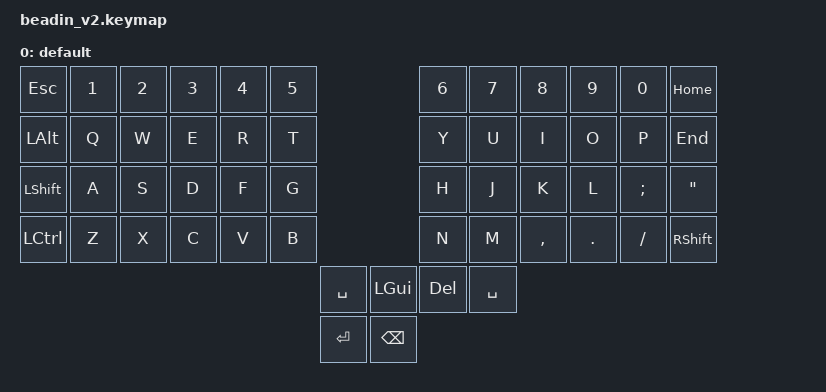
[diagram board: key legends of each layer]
#include <behaviours.dtsi>
#include <dt-bindings/zmk/keys.h>
#include <dt-bindings/zmk/bt.h>
#include <dt-bindings/zmk/ext_power.h>

/ {
    keymap{
        compatible = "zmk,keymap";

        default_layer {
            display-name = "default";
            bindings = <   
&kp ESC     &kp N1 &kp N2 &kp N3 &kp N4 &kp N5                                             &kp N6 &kp N7 &kp N8    &kp N9  &kp N0   &kp HOME
&kp LALT    &kp Q  &kp W  &kp E  &kp R  &kp T                                              &kp Y  &kp U  &kp I     &kp O   &kp P    &kp END
&kp LSHIFT  &kp A  &kp S  &kp D  &kp F  &kp G                                              &kp H  &kp J  &kp K     &kp L   &kp SEMI &kp DQT
&kp LCTRL   &kp Z  &kp X  &kp C  &kp V  &kp B                                              &kp N  &kp M  &kp COMMA &kp DOT &kp FSLH &kp RSHIFT
                                                    &kp SPACE &kp LGUI    &kp DEL &kp SPACE
                                                              &kp RET     &kp BSPC
>;
        };
    };
};
